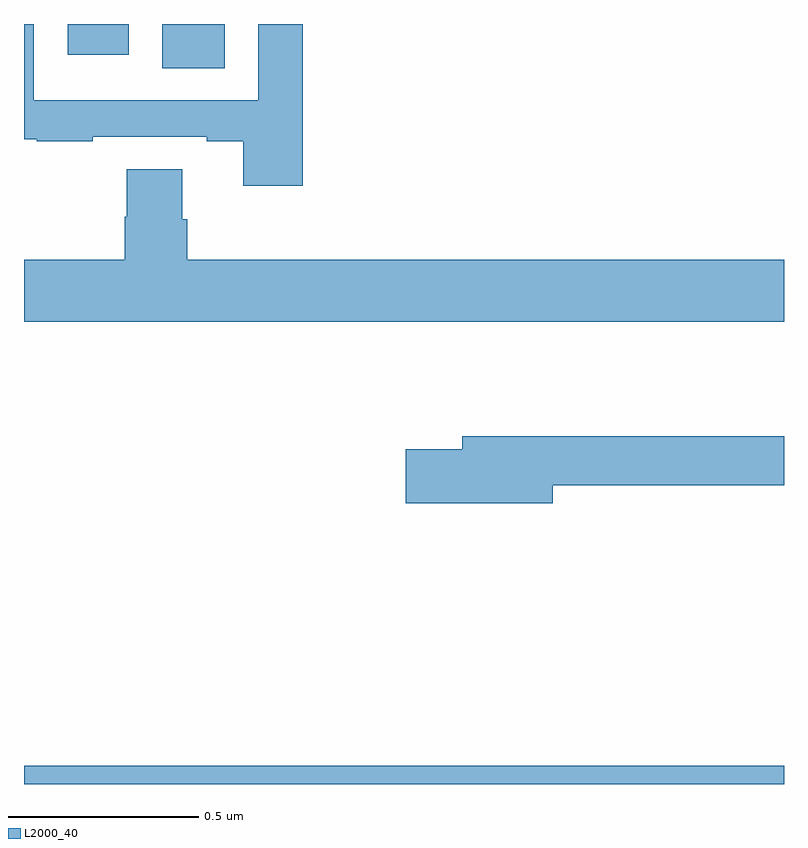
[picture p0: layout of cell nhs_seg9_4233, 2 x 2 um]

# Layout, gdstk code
import gdstk
lib = gdstk.Library(unit=1e-6, precision=1e-09)
def R(c, l, rs):  # rectangles x0, y0, x1, y1
    for r in rs: c.add(gdstk.rectangle(r[:2], r[2:], *l))
def P(c, l, *ps):  # polygons
    for p in ps: c.add(gdstk.Polygon(p, *l))
L2000_40 = (2000, 40)

nhs_seg9_4233 = lib.new_cell('nhs_seg9_4233')
R(nhs_seg9_4233, L2000_40, [(163,1232.5,165,1232.548), (163.364,1234.384,163.528,1234.5), (163.115,1234.419,163.276,1234.5)])
P(nhs_seg9_4233, L2000_40, [(163.733,1234.5),(163.617,1234.5),(163.617,1234.299),(163.026,1234.299),(163.026,1234.5),(163,1234.5),(163,1234.197),(163.033,1234.197),(163.033,1234.191),(163.181,1234.191),(163.181,1234.203),(163.481,1234.203),(163.481,1234.191),(163.577,1234.191),(163.577,1234.074),(163.733,1234.074)],
  [(165,1233.88),(163.43,1233.88),(163.43,1233.986),(163.417,1233.986),(163.417,1234.118),(163.27,1234.118),(163.27,1233.993),(163.265,1233.993),(163.265,1233.88),(163,1233.88),(163,1233.716),(165,1233.716)],
  [(164.392,1233.286),(165,1233.286),(165,1233.415),(164.153,1233.415),(164.153,1233.381),(164.004,1233.381),(164.004,1233.239),(164.392,1233.239)])

lib.write_gds('nhs_seg9_4233.gds')
